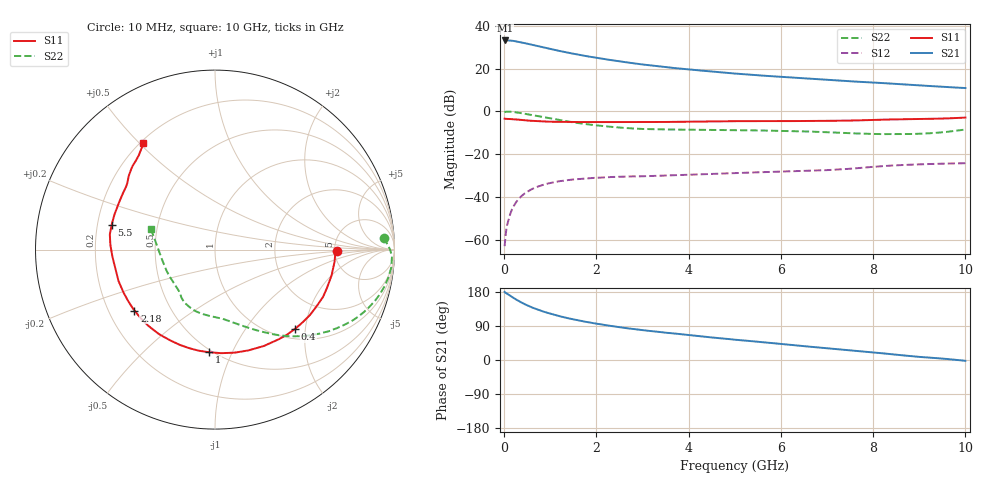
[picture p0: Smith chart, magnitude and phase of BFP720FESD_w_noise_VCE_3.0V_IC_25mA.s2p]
! Infineon Technologies  Discrete & RF Semiconductors
! BFP720FESD
! VCE =  3.0 V,  IC =  25 mA
! Common Emitter S-Parameters:  Jan 2016
# GHz  S  MA  R  50
!  f  S11  S21  S12  S22
! GHz  MAG  ANG  MAG  ANG  MAG  ANG  MAG  ANG
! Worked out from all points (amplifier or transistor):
!   233 points, 10 MHz to 10 GHz, reference 50 ohm
!   highest |S21| = 33.2 dB at 20 MHz (marker M1)
!   |S21| within 3 dB of that: start of sweep to 794.3 MHz
!   unconditionally stable (mu >= 1): 5.36 GHz to end of sweep
!   at 200 MHz: K = 0.10, MSG = 38.8 dB, |S12| = -44.6 dB
!   at 1.74 GHz: K = 0.49, MSG = 28.7 dB, |S12| = -31.4 dB
!   at 10 GHz: K = 1.13, MAG = 15.4 dB, |S12| = -24.3 dB
!   lowest NFmin = 1.08 dB at 450 MHz
!   S11 on the Smith chart (normalised r, x): 10 MHz: 5.19, -0.18; 400 MHz: 1.20, -1.76; 1 GHz: 0.48, -0.82; 2.18 GHz: 0.31, -0.31; 5.5 GHz: 0.26, +0.11; 10 GHz: 0.21, +0.51
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0.01  0.6775 -0.8  45.65 179.7  0.0007 107.0  0.9436 4.0
0.02  0.6703 -2.3  45.76 178.1  0.0009 94.2  0.9748 0.1
0.1  0.6663 -11.8  45.75 172.3  0.003 84.3  0.9873 -5.7
0.2  0.6571 -23.6  44.68 164.2  0.0059 79.2  0.9673 -12.1
0.3  0.6422 -34.6  42.83 156.7  0.0085 73.8  0.9363 -17.7
0.4  0.6276 -44.8  40.67 150.1  0.0109 69.6  0.8994 -22.8
0.5  0.6133 -54.4  38.44 144.2  0.0131 65.8  0.861 -27.4
0.62  0.599 -64.9  35.85 137.9  0.0155 61.4  0.8145 -32.1
0.8  0.5845 -79.3  32.29 129.9  0.0184 56.1  0.7492 -38.6
1  0.573 -93.2  28.92 122.3  0.0211 51.0  0.6832 -44.9
1.3  0.5658 -110.4  24.72 112.6  0.024 45.1  0.5993 -52.9
1.68  0.5634 -126.9  20.62 102.8  0.0265 39.8  0.5188 -61.2
1.9  0.5639 -134.6  18.72 97.9  0.0276 37.7  0.4839 -65.6
2.18  0.5627 -142.9  16.72 92.3  0.0285 35.6  0.4496 -70.4
2.78  0.563 -157.7  13.47 82.0  0.0301 32.9  0.399 -80.6
3.4  0.5647 -168.2  11.16 73.6  0.0313 33.0  0.3796 -87.7
4  0.5735 -176.5  9.594 65.8  0.0329 33.5  0.373 -93.0
5.1  0.5917 170.7  7.549 52.6  0.0362 34.4  0.3621 -104.7
5.5  0.5922 166.6  6.991 48.1  0.0375 34.7  0.3589 -108.4
6.8  0.5982 150.9  5.669 33.2  0.0416 36.3  0.3321 -122.9
8.4  0.6481 136.0  4.47 15.2  0.054 37.0  0.294 -150.6
10  0.715 123.9  3.519 -2.1  0.0612 28.9  0.3756 162.1
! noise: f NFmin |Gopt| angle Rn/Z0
0.45  1.08  0.05  -156  0.11
2.4  1.1  0.07  -150  0.13
5.5  1.29  0.18  170  0.11
10  1.76  0.32  -118  0.19
